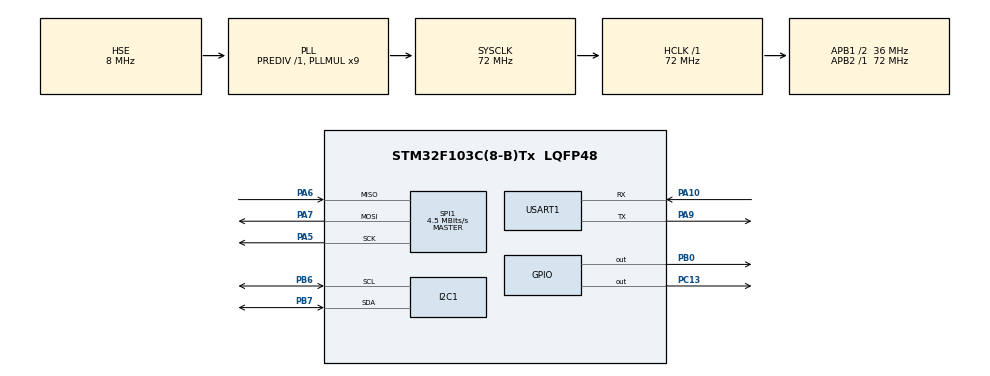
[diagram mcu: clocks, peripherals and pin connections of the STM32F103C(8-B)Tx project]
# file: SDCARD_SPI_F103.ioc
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FATFS._MAX_SS=4096
FATFS._USE_LFN=1
Mcu.Family=STM32F1
Mcu.Name=STM32F103C(8-B)Tx
Mcu.Package=LQFP48
NVIC.PriorityGroup=NVIC_PRIORITYGROUP_4
NVIC.TIM2_IRQn=true\:0\:0\:false\:false\:true\:true\:true\:true
PA10.Mode=Asynchronous
PA10.Signal=USART1_RX
PA13.Mode=Serial_Wire
PA13.Signal=SYS_JTMS-SWDIO
PA14.Mode=Serial_Wire
PA14.Signal=SYS_JTCK-SWCLK
PA5.Mode=Full_Duplex_Master
PA5.Signal=SPI1_SCK
PA6.Mode=Full_Duplex_Master
PA6.Signal=SPI1_MISO
PA7.Mode=Full_Duplex_Master
PA7.Signal=SPI1_MOSI
PA9.Mode=Asynchronous
PA9.Signal=USART1_TX
PB0.Signal=GPIO_Output
PB6.Mode=I2C
PB6.Signal=I2C1_SCL
PB7.Mode=I2C
PB7.Signal=I2C1_SDA
PC13-TAMPER-RTC.Signal=GPIO_Output
PD0-OSC_IN.Mode=HSE-External-Oscillator
PD0-OSC_IN.Signal=RCC_OSC_IN
PD1-OSC_OUT.Mode=HSE-External-Oscillator
PD1-OSC_OUT.Signal=RCC_OSC_OUT
ProjectManager.HeapSize=0x200
ProjectManager.StackSize=0x400
ProjectManager.TargetToolchain=STM32CubeIDE
RCC.AHBFreq_Value=72000000
RCC.APB1CLKDivider=RCC_HCLK_DIV2
RCC.APB1Freq_Value=36000000
RCC.APB1TimFreq_Value=72000000
RCC.APB2Freq_Value=72000000
RCC.APB2TimFreq_Value=72000000
RCC.HCLKFreq_Value=72000000
RCC.PLLMUL=RCC_PLL_MUL9
RCC.PLLSourceVirtual=RCC_PLLSOURCE_HSE
RCC.SYSCLKFreq_VALUE=72000000
RCC.SYSCLKSource=RCC_SYSCLKSOURCE_PLLCLK
RCC.USBFreq_Value=72000000
SPI1.BaudRatePrescaler=SPI_BAUDRATEPRESCALER_16
SPI1.CalculateBaudRate=4.5 MBits/s
SPI1.Direction=SPI_DIRECTION_2LINES
SPI1.Mode=SPI_MODE_MASTER
SPI1.VirtualType=VM_MASTER
TIM2.AutoReloadPreload=TIM_AUTORELOAD_PRELOAD_ENABLE
TIM2.Period=7200
TIM2.Prescaler=10000
USART1.VirtualMode=VM_ASYNC
VP_FATFS_VS_Generic.Mode=User_defined
VP_TIM2_VS_ClockSourceINT.Mode=Internal
board=custom

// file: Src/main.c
/* USER CODE BEGIN Header */
/**
  ******************************************************************************
  * @file           : main.c
  * @brief          : Main program body
  ******************************************************************************
  * @attention
  *
  * <h2><center>&copy; Copyright (c) 2020 STMicroelectronics.
  * All rights reserved.</center></h2>
  *
  * This software component is licensed by ST under BSD 3-Clause license,
  * the "License"; You may not use this file except in compliance with the
  * License. You may obtain a copy of the License at:
  *                        opensource.org/licenses/BSD-3-Clause
  *
  ******************************************************************************
  */
/* USER CODE END Header */

#include "main.h"
#include "fatfs.h"

/* USER CODE BEGIN Includes */
#include "fatfs_sd.h"
#include "string.h"
#include "stdio.h"
#define adxl_address 0x53<<1
/* USER CODE END Includes */

/* USER CODE BEGIN PD */
static char* intro="ADXL345 Sensöründen İvme Verilerini Okuma\r\n";
char buffer_acce[50];
uint8_t chipid=0;
uint8_t axis_data[6];
int16_t x_axis ,y_axis ,z_axis;
float xg,yg,zg;
uint8_t sample_tic=0;
/* USER CODE END PD */

I2C_HandleTypeDef hi2c1;

SPI_HandleTypeDef hspi1;

TIM_HandleTypeDef htim2;

UART_HandleTypeDef huart1;

void SystemClock_Config(void);
static void MX_GPIO_Init(void);
static void MX_SPI1_Init(void);
static void MX_USART1_UART_Init(void);
static void MX_I2C1_Init(void);
static void MX_TIM2_Init(void);

/* USER CODE BEGIN 0 */

FATFS fs;  // file system
FIL fil; // File
FILINFO fno;
FRESULT fresult;  // result
UINT br, bw;  // File read/write count

/**** capacity related *****/
FATFS *pfs;
DWORD fre_clust;
uint32_t total, free_space;

#define BUFFER_SIZE 128
char buffer[BUFFER_SIZE];  // to store strings..

int i=0;

int bufsize (char *buf)
{
	int i=0;
	while (*buf++ != '\0') i++;
	return i;
}

void clear_buffer (void)
{
	for (int i=0; i<BUFFER_SIZE; i++) buffer[i] = '\0';
}

void send_uart (char *string)
{
	uint8_t len = strlen (string);
	HAL_UART_Transmit(&huart1, (uint8_t *) string, len, HAL_MAX_DELAY);  // transmit in blocking mode
}
void buffer_clear(char *buffer,uint8_t size){
	for (uint8_t i=0;i<size;i++){
		buffer[i]='\0';
	}
}
void adxl345_write(uint8_t adress,uint8_t value){
	uint8_t data[2];
	data[0]=adress; //Çok baytlı yazmayı aktif ediyoruz.
	data[1]=value;
	HAL_I2C_Master_Transmit (&hi2c1, adxl_address, data, 2, 100);
}
void adxl345_read(uint8_t adress){
	HAL_I2C_Mem_Read (&hi2c1, adxl_address, adress, 1, (uint8_t *)axis_data, 6, 100);
}
void adxl345_read_address (uint8_t adress)
{
	HAL_I2C_Mem_Read (&hi2c1, adxl_address, adress, 1, &chipid, 1, 100);
}
void adxl345_init(void){
	adxl345_read_address (0x00); // read the DEVID
	adxl345_write(0x31, 0x01); //Data format aralığı +/- 2g seçilir
	adxl345_write(0x2d, 0x00); //İlgili register temizlenir.
	adxl345_write(0x2d, 0x08); //Ölçüm modunda ve 8Hz 'de uyanma gerçekleşir.
}
void adxl345_Data_Collect(void){
	 adxl345_read(0x32);

		  x_axis=((axis_data[1]<<8) | axis_data[0]);
		  y_axis=((axis_data[3]<<8) | axis_data[2]);
		  z_axis=((axis_data[5]<<8) | axis_data[4]);

		  xg=x_axis*.0078125;
		  yg=y_axis*.0078125;
		  zg=z_axis*.0078125;
}
void data_push_to_serialport(void){
		  sprintf(buffer_acce,"\r\nxg :%f\r\nyg :%f\r\nzg :%f\r\n",xg,yg,zg);
		  f_write(&fil, &buffer_acce, sizeof(buffer_acce), &bw);
		  buffer_clear(buffer_acce,50);
		  HAL_GPIO_TogglePin(GPIOC, GPIO_PIN_13);
}

/* USER CODE END 0 */

int main(void)
{

  /* MCU Configuration--------------------------------------------------------*/

  /* Reset of all peripherals, Initializes the Flash interface and the Systick. */
  HAL_Init();

  /* Configure the system clock */
  SystemClock_Config();

  /* Initialize all configured peripherals */
  MX_GPIO_Init();
  MX_SPI1_Init();
  MX_USART1_UART_Init();
  MX_FATFS_Init();
  MX_I2C1_Init();
  MX_TIM2_Init();
  /* USER CODE BEGIN 2 */
  HAL_TIM_Base_Start_IT(&htim2);
  adxl345_init();
  HAL_Delay (500);

  fresult = f_mount(&fs, "/", 1);
  if (fresult != FR_OK) send_uart ("ERROR!!! in mounting SD CARD...\n\n");
  else send_uart("SD CARD mounted successfully...\n\n");
  /* Open file to write/ create a file if it doesn't exist */
  fresult =f_open(&fil, "Acceleration_Log.txt", FA_OPEN_ALWAYS | FA_READ | FA_WRITE);
  send_uart("File is opened");
  	/* Writing text */

//  	/* Close file */
//  	fresult = f_close(&fil);
//
//  	if (fresult == FR_OK)send_uart ("Acceleration values ​​written\n");
//
//  	/* Open file to read */
//  	fresult = f_open(&fil, "Acceleration_Log.txt", FA_READ);
//
//  	/* Read string from the file */
//  	f_gets(buffer, f_size(&fil), &fil);
//
//  	send_uart("Acceleration :\n");
//  	send_uart(buffer);
//  	send_uart("\n\n");
//
//  	/* Close file */
//  	f_close(&fil);
//  	clear_buffer();
  	/* Unmount SDCARD */
//  	fresult = f_mount(NULL, "/", 1);
//  	if (fresult == FR_OK) send_uart ("SD CARD UNMOUNTED successfully...\n");

  /* USER CODE END 2 */

  /* Infinite loop */
  while (1)
  {

    /* USER CODE BEGIN 3 */
	  if (sample_tic==1){
	  		HAL_NVIC_DisableIRQ(TIM2_IRQn);
	  		f_write(&fil, &intro, sizeof(intro), &bw);
	  		sprintf(buffer_acce,"\nChip ID :%u\r\n",chipid);
	  		f_write(&fil, &buffer_acce, sizeof(buffer_acce), &bw);
	  		 for(int i=0;i<3;i++){
	  			 adxl345_Data_Collect();
	  			 data_push_to_serialport();
	  		 }
	  		sample_tic=0;
	  		HAL_NVIC_EnableIRQ(TIM2_IRQn);
	  	 }
  }
  /* USER CODE END 3 */
}

void SystemClock_Config(void)
{
  RCC_OscInitTypeDef RCC_OscInitStruct = {0};
  RCC_ClkInitTypeDef RCC_ClkInitStruct = {0};

  /** Initializes the CPU, AHB and APB busses clocks
  */
  RCC_OscInitStruct.OscillatorType = RCC_OSCILLATORTYPE_HSE;
  RCC_OscInitStruct.HSEState = RCC_HSE_ON;
  RCC_OscInitStruct.HSEPredivValue = RCC_HSE_PREDIV_DIV1;
  RCC_OscInitStruct.HSIState = RCC_HSI_ON;
  RCC_OscInitStruct.PLL.PLLState = RCC_PLL_ON;
  RCC_OscInitStruct.PLL.PLLSource = RCC_PLLSOURCE_HSE;
  RCC_OscInitStruct.PLL.PLLMUL = RCC_PLL_MUL9;
  if (HAL_RCC_OscConfig(&RCC_OscInitStruct) != HAL_OK)
  {
    Error_Handler();
  }
  /** Initializes the CPU, AHB and APB busses clocks
  */
  RCC_ClkInitStruct.ClockType = RCC_CLOCKTYPE_HCLK|RCC_CLOCKTYPE_SYSCLK
                              |RCC_CLOCKTYPE_PCLK1|RCC_CLOCKTYPE_PCLK2;
  RCC_ClkInitStruct.SYSCLKSource = RCC_SYSCLKSOURCE_PLLCLK;
  RCC_ClkInitStruct.AHBCLKDivider = RCC_SYSCLK_DIV1;
  RCC_ClkInitStruct.APB1CLKDivider = RCC_HCLK_DIV2;
  RCC_ClkInitStruct.APB2CLKDivider = RCC_HCLK_DIV1;

  if (HAL_RCC_ClockConfig(&RCC_ClkInitStruct, FLASH_LATENCY_2) != HAL_OK)
  {
    Error_Handler();
  }
}

static void MX_I2C1_Init(void)
{

  hi2c1.Instance = I2C1;
  hi2c1.Init.ClockSpeed = 100000;
  hi2c1.Init.DutyCycle = I2C_DUTYCYCLE_2;
  hi2c1.Init.OwnAddress1 = 0;
  hi2c1.Init.AddressingMode = I2C_ADDRESSINGMODE_7BIT;
  hi2c1.Init.DualAddressMode = I2C_DUALADDRESS_DISABLE;
  hi2c1.Init.OwnAddress2 = 0;
  hi2c1.Init.GeneralCallMode = I2C_GENERALCALL_DISABLE;
  hi2c1.Init.NoStretchMode = I2C_NOSTRETCH_DISABLE;
  if (HAL_I2C_Init(&hi2c1) != HAL_OK)
  {
    Error_Handler();
  }

}

static void MX_SPI1_Init(void)
{

  /* SPI1 parameter configuration*/
  hspi1.Instance = SPI1;
  hspi1.Init.Mode = SPI_MODE_MASTER;
  hspi1.Init.Direction = SPI_DIRECTION_2LINES;
  hspi1.Init.DataSize = SPI_DATASIZE_8BIT;
  hspi1.Init.CLKPolarity = SPI_POLARITY_LOW;
  hspi1.Init.CLKPhase = SPI_PHASE_1EDGE;
  hspi1.Init.NSS = SPI_NSS_SOFT;
  hspi1.Init.BaudRatePrescaler = SPI_BAUDRATEPRESCALER_16;
  hspi1.Init.FirstBit = SPI_FIRSTBIT_MSB;
  hspi1.Init.TIMode = SPI_TIMODE_DISABLE;
  hspi1.Init.CRCCalculation = SPI_CRCCALCULATION_DISABLE;
  hspi1.Init.CRCPolynomial = 10;
  if (HAL_SPI_Init(&hspi1) != HAL_OK)
  {
    Error_Handler();
  }

}

static void MX_TIM2_Init(void)
{

  TIM_ClockConfigTypeDef sClockSourceConfig = {0};
  TIM_MasterConfigTypeDef sMasterConfig = {0};

  htim2.Instance = TIM2;
  htim2.Init.Prescaler = 10000;
  htim2.Init.CounterMode = TIM_COUNTERMODE_UP;
  htim2.Init.Period = 7200;
  htim2.Init.ClockDivision = TIM_CLOCKDIVISION_DIV1;
  htim2.Init.AutoReloadPreload = TIM_AUTORELOAD_PRELOAD_ENABLE;
  if (HAL_TIM_Base_Init(&htim2) != HAL_OK)
  {
    Error_Handler();
  }
  sClockSourceConfig.ClockSource = TIM_CLOCKSOURCE_INTERNAL;
  if (HAL_TIM_ConfigClockSource(&htim2, &sClockSourceConfig) != HAL_OK)
  {
    Error_Handler();
  }
  sMasterConfig.MasterOutputTrigger = TIM_TRGO_RESET;
  sMasterConfig.MasterSlaveMode = TIM_MASTERSLAVEMODE_DISABLE;
  if (HAL_TIMEx_MasterConfigSynchronization(&htim2, &sMasterConfig) != HAL_OK)
  {
    Error_Handler();
  }

}

static void MX_USART1_UART_Init(void)
{

  huart1.Instance = USART1;
  huart1.Init.BaudRate = 115200;
  huart1.Init.WordLength = UART_WORDLENGTH_8B;
  huart1.Init.StopBits = UART_STOPBITS_1;
  huart1.Init.Parity = UART_PARITY_NONE;
  huart1.Init.Mode = UART_MODE_TX_RX;
  huart1.Init.HwFlowCtl = UART_HWCONTROL_NONE;
  huart1.Init.OverSampling = UART_OVERSAMPLING_16;
  if (HAL_UART_Init(&huart1) != HAL_OK)
  {
    Error_Handler();
  }

}

static void MX_GPIO_Init(void)
{
  GPIO_InitTypeDef GPIO_InitStruct = {0};

  /* GPIO Ports Clock Enable */
  __HAL_RCC_GPIOC_CLK_ENABLE();
  __HAL_RCC_GPIOD_CLK_ENABLE();
  __HAL_RCC_GPIOA_CLK_ENABLE();
  __HAL_RCC_GPIOB_CLK_ENABLE();

  /*Configure GPIO pin Output Level */
  HAL_GPIO_WritePin(GPIOC, GPIO_PIN_13, GPIO_PIN_RESET);

  /*Configure GPIO pin Output Level */
  HAL_GPIO_WritePin(GPIOB, GPIO_PIN_0, GPIO_PIN_RESET);

  /*Configure GPIO pin : PC13 */
  GPIO_InitStruct.Pin = GPIO_PIN_13;
  GPIO_InitStruct.Mode = GPIO_MODE_OUTPUT_PP;
  GPIO_InitStruct.Pull = GPIO_NOPULL;
  GPIO_InitStruct.Speed = GPIO_SPEED_FREQ_LOW;
  HAL_GPIO_Init(GPIOC, &GPIO_InitStruct);

  /*Configure GPIO pin : PB0 */
  GPIO_InitStruct.Pin = GPIO_PIN_0;
  GPIO_InitStruct.Mode = GPIO_MODE_OUTPUT_PP;
  GPIO_InitStruct.Pull = GPIO_NOPULL;
  GPIO_InitStruct.Speed = GPIO_SPEED_FREQ_LOW;
  HAL_GPIO_Init(GPIOB, &GPIO_InitStruct);

}

void Error_Handler(void)
{
}

/************************ (C) COPYRIGHT STMicroelectronics *****END OF FILE****/
